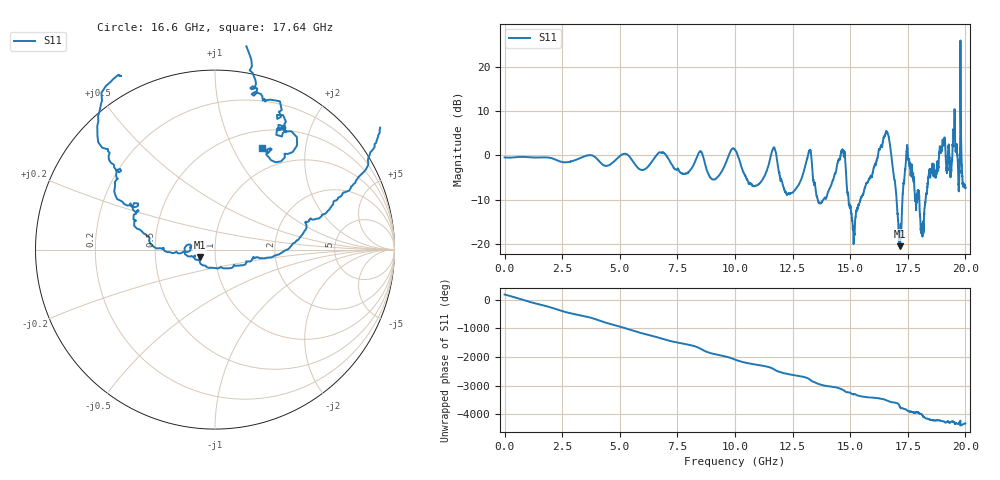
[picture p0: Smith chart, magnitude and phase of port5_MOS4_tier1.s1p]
! Created with skrf 1.8.0 (http://scikit-rf.org).
# GHz S RI R 50.0
!freq ReS11 ImS11
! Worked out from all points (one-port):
!   10001 points, 1 MHz to 20 GHz, reference 50 ohm
!   lowest |S11| = -20.5 dB at 17.17 GHz (marker M1), VSWR 1.21, Z = 42.1 - j3.66 ohm
!   |S11| at or under -10 dB: 14.93 GHz to 15.44 GHz (513.7 MHz wide, 3.38 % of centre); 17.01 GHz to 17.27 GHz (255.3 MHz wide, 1.49 % of centre); 18 GHz to 18.27 GHz (272.4 MHz wide, 1.5 % of centre) (the widest 3 of 8)
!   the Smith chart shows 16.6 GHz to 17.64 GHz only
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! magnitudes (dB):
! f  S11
! 1 MHz  -0.5
! 2.501 GHz  -1.5
! 5.001 GHz  -0.2
! 5.991 GHz  -3.3
! 6.837 GHz  0.6
! 7.501 GHz  -3.2
! 8.501 GHz  0.9
! 9.115 GHz  -5.5
! 10 GHz  1.3
! 10.83 GHz  -7.0
! 11.7 GHz  1.8
! 12.17 GHz  -8.2
! 12.5 GHz  -8.4
! 13.23 GHz  0.8
! 13.75 GHz  -10.7
! 14.67 GHz  1.3
! 15 GHz  -11.4
! 15.18 GHz  -17.6
! 16.58 GHz  5.4
! 17.17 GHz  -20.5
! 17.39 GHz  -3.3
! 17.5 GHz  0.2
! 18.11 GHz  -16.0
! 18.47 GHz  -4.6
! 19.02 GHz  3.2
! 19.29 GHz  1.1
! 19.55 GHz  5.2
! 20 GHz  -7.4
